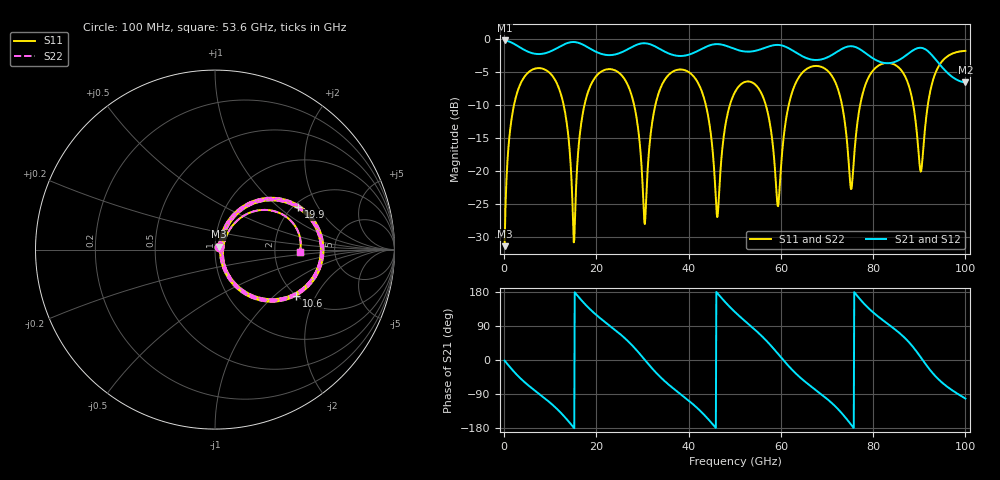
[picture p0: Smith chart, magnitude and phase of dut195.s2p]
! Touchstone file exported from HFSS 2026.1.0
!  File:  C:/ffzhzh/LocalFiles/Ansys_Project_Files/temp_test_TSV_RDL_195_1783479792_46308.aedt
!  Generated:  11:17:04 AM Jul  8, 2026
!  Design:  TSV_RDL
!  Project:  temp_test_TSV_RDL_195_1783479792_46308
! Variables:
!  h_bsmrdl = 4.4um
!  h_ox = 20um
!  h_rdl = 5um
!  h_sub = 56.31um
!  h_tmrdl = 3.43um
!  h_tsv = 56.31um
!  h_via = 3um
!  l_bsmrdl = 440.31um
!  l_sub = 4225.88um
!  l_tmrdl = 599.53um
!  m_sub = 200um
!  pitch = 49.57um
!  r_tsv = 6.35um
!  s_tmrdl = 10um
!  w_bsmrdl = 15.54um
!  w_sub = 500um
!  w_tmrdl = 20.07um
!  x_tsv_center1 = 609.565um
!  x_tsv_center2 = 1065.415um
!  x_tsv_center3 = 1685.015um
!  x_tsv_center4 = 2140.865um
!  x_tsv_center5 = 2760.465um
!  x_tsv_center6 = 3216.315um
# GHz S MA R 50.000000
! Terminal data exported
! Port[1] = TM_RDL1_1_T1
! Port[2] = TM_RDL5_1_T1
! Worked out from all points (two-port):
!   1000 points, 100 MHz to 100 GHz, reference 50 ohm
!   highest |S21| = -0.18 dB at 100 MHz (marker M1); lowest = -6.6 dB at 100 GHz (marker M2)
!   |S21| within 3 dB of the highest: start of sweep to 80.68 GHz; 85.51 GHz to 93.68 GHz (8.169 GHz wide, 9.12 % of centre)
!   lowest |S11| = -31.4 dB at 100 MHz (marker M3), VSWR 1.06, Z = 52.1 + j1.74 ohm
!   |S11| at or under -10 dB: 28.19 GHz to 32.78 GHz (4.59 GHz wide, 15.1 % of centre); 43.74 GHz to 48.93 GHz (5.19 GHz wide, 11.2 % of centre); 56.74 GHz to 61.69 GHz (4.953 GHz wide, 8.36 % of centre) (the widest 3 of 7)
!   |S22| runs from -31.4 to -1.8 dB; largest |S21 - S12| = 3.7e-14
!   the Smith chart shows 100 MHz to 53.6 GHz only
!   S11 on the Smith chart (normalised r, x): 100 MHz: 1.04, +0.03; 10.6 GHz: 2.00, -1.40; 19.9 GHz: 2.12, +1.38; 53.6 GHz: 2.79, -0.09
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0.1  0.02699 38.3  0.9791 -1.6  0.9791 -1.6  0.02699 38.3
! Gamma 0 0 0 0
! Port Impedance 50 0 50 0
3  0.4115 44.5  0.8859 -42.0  0.8859 -42.0  0.4115 44.5
10.6  0.5193 -29.5  0.826 -119.5  0.826 -119.5  0.5193 -29.5
15.1  0.02885 -10.9  0.953 -178.5  0.953 -178.5  0.02876 -11.0
16.8  0.2424 59.6  0.9198 157.1  0.9198 157.1  0.2424 59.6
19.9  0.5219 27.0  0.804 119.7  0.804 119.7  0.5219 27.0
27.1  0.4252 -40.5  0.851 46.7  0.851 46.7  0.4251 -40.6
30.5  0.03969 5.3  0.9328 0.4  0.9328 0.4  0.03944 5.4
33.4  0.3813 45.2  0.8573 -39.4  0.8573 -39.4  0.3813 45.2
42  0.4689 -35.6  0.8161 -128.3  0.8161 -128.3  0.4688 -35.6
46.2  0.04482 -5.8  0.9191 176.6  0.9191 176.6  0.04512 -5.6
50.1  0.4007 31.8  0.8407 125.9  0.8407 125.9  0.4008 31.7
53.6  0.4733 -1.6  0.8076 88.2  0.8076 88.2  0.4732 -1.6
59.4  0.05423 20.3  0.9056 16.0  0.9056 16.0  0.05266 20.6
62.1  0.3618 60.0  0.8389 -21.6  0.8389 -21.6  0.3616 60.3
66.7  0.621 17.3  0.7008 -71.2  0.7008 -71.2  0.621 17.5
75.5  0.08512 35.6  0.8842 -174.8  0.8842 -174.8  0.08715 35.0
78.2  0.4389 48.4  0.7922 146.4  0.7922 146.4  0.4393 48.2
83.4  0.6608 3.2  0.6583 93.3  0.6583 93.3  0.661 3.2
90.6  0.1131 30.0  0.8588 2.4  0.8588 2.4  0.1135 29.8
93.6  0.5645 37.5  0.6987 -44.0  0.6987 -44.0  0.5646 37.5
100  0.8164 -12.5  0.47 -101.8  0.47 -101.8  0.8165 -12.6
